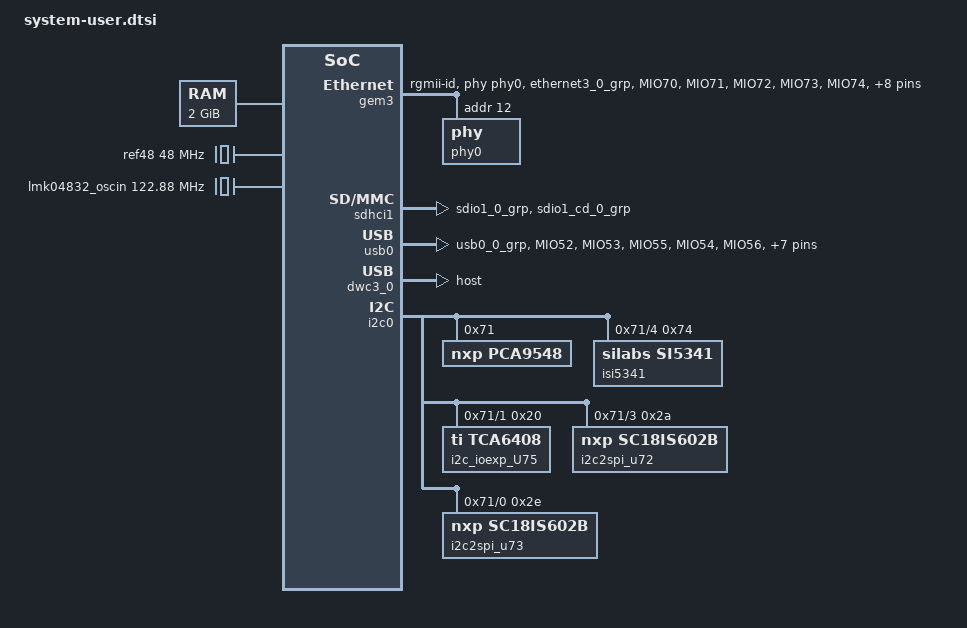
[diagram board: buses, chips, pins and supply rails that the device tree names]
/include/ "system-conf.dtsi"
/include/ "pl.dtsi"
/ {

	memory {
		device_type = "memory";
		reg = <0x0 0x0 0x0 0x7ff00000>;
	};

	/* 48MHz reference crystal */
	ref48: ref48M {
        	compatible = "fixed-clock";
        	#clock-cells = <0>;
        	clock-frequency = <48000000>;
	};

        lmk04832_oscin: oscin {
            compatible = "fixed-clock";

            #clock-cells = <0>;
            clock-frequency = <122880000>;
            clock-output-names = "lmk04832-oscin";
        };
};


&pinctrl0 {
	status = "okay";

	pinctrl_usb0_default: usb0-default {
		mux {
			groups = "usb0_0_grp";
			function = "usb0";
		};

		conf {
			groups = "usb0_0_grp";
			slew-rate = <1>;
			io-standard = <1>;
		};

		conf-rx {
			pins = "MIO52", "MIO53", "MIO55";
			bias-high-impedance;
		};

		conf-tx {
			pins = "MIO54", "MIO56", "MIO57", "MIO58", "MIO59",
			       "MIO60", "MIO61", "MIO62", "MIO63";
			bias-disable;
		};
	};

	pinctrl_gem3_default: gem3-default {
		mux {
			function = "ethernet3";
			groups = "ethernet3_0_grp";
		};

		conf {
			groups = "ethernet3_0_grp";
			slew-rate = <1>;
			io-standard = <1>;
		};

		conf-rx {
			pins = "MIO70", "MIO71", "MIO72", "MIO73", "MIO74",
									"MIO75";
			bias-high-impedance;
			low-power-disable;
		};

		conf-tx {
			pins = "MIO64", "MIO65", "MIO66", "MIO67", "MIO68",
									"MIO69";
			bias-disable;
			low-power-enable;
		};

		mux-mdio {
			function = "mdio3";
			groups = "mdio3_0_grp";
		};

		conf-mdio {
			groups = "mdio3_0_grp";
			slew-rate = <1>;
			io-standard = <1>;
			bias-disable;
		};
	};

	pinctrl_sdhci1_default: sdhci1-default {
		mux {
			groups = "sdio1_0_grp";
			function = "sdio1";
		};

		conf {
			groups = "sdio1_0_grp";
			slew-rate = <1>;
			io-standard = <1>;
			bias-disable;
		};

		mux-cd {
			groups = "sdio1_cd_0_grp";
			function = "sdio1_cd";
		};

		conf-cd {
			groups = "sdio1_cd_0_grp";
			bias-high-impedance;
			bias-pull-up;
			slew-rate = <1>;
			io-standard = <1>;
		};
	};
};

&gem3 {
	status = "okay";
	phy-handle = <&phy0>;
	phy-mode = "rgmii-id";
	pinctrl-names = "default";
	pinctrl-0 = <&pinctrl_gem3_default>;
	phy0: phy@c {
		reg = <0xc>;
		ti,rx-internal-delay = <0x8>;
		ti,tx-internal-delay = <0xa>;
		ti,fifo-depth = <0x1>;
		ti,dp83867-rxctrl-strap-quirk;
	};
};

/* SD1 with level shifter */
&sdhci1 {
	status = "okay";
	pinctrl-names = "default";
	pinctrl-0 = <&pinctrl_sdhci1_default>; 
	no-1-8-v;
	disable-wp;
	xlnx,mio_bank = <1>;
};

/* ULPI SMSC USB3320 */
&usb0 {
	status = "okay";
	pinctrl-names = "default";
	pinctrl-0 = <&pinctrl_usb0_default>;
};

&dwc3_0 {
	status = "okay";
	dr_mode = "host";
	snps,usb3_lpm_capable;
	phy-names = "usb3-phy";
	/* phys = <&lane2 4 0 3 26000000>; */
};

&i2c0 {
	/*
 	 * An NXP pca9548 8 channel I2C multiplexer (U51) at address 0x71
	 */
        pca9548:i2c-mux@71 {
		compatible = "nxp,pca9548";
		reg = <0x71>;
		#address-cells = <1>;
		#size-cells = <0>;
	
		/* PORT 4 - SI5341 Programmable clock generator (U19) at address 0x74 */
            	i2c@4 {
			#address-cells = <1>;
			#size-cells = <0>;
			reg = <4>;

			isi5341: clock-generator@74 {
				reg = <0x74>;
				compatible = "silabs,si5341";
				#clock-cells = <2>;
				#address-cells = <1>;
				#size-cells = <0>;
				clocks = <&ref48>;
				clock-names = "xtal";

				silabs,pll-m-num = <14000>; /* PLL at 14.0 GHz */
				silabs,pll-m-den = <48>;
				silabs,reprogram; /* Chips are not programmed, always reset */

				out@4 {
					reg = <4>;
					silabs,format = <1>; /* LVDS 3v3 */
					silabs,common-mode = <3>;
					silabs,amplitude = <3>;
					silabs,synth-master;
				};

				/*
		 		 * Output 6 configuration:
				 *  LVDS 1v8
				*/
				out@6 {
					reg = <6>;
					silabs,format = <1>; /* LVDS 1v8 */
					silabs,common-mode = <13>;
					silabs,amplitude = <3>;
				};

				/*
		 		 * Output 8 configuration:
		 		 *  HCSL 3v3
 		 		 */
				out@8 {
					reg = <8>;
					silabs,format = <2>;
					silabs,common-mode = <11>;
					silabs,amplitude = <3>;
				};
			};
		};

		/* PORT 1 - I2C I/O Expander (U75) at address 0x20 */
            	i2c@1 {
                	#address-cells = <1>;
                	#size-cells = <0>;
                	reg = <1>;

                	i2c_ioexp_U75:gpio@20 {

                    		compatible = "ti,tca6408";
                    		gpio-controller;
                    		#gpio-cells = <2>;
                    		reg = <0x20>;

				gpio-line-names = 
				"P0_U75", "P1_U75",
				"nc", "nc",
				"nc", "nc",
				"nc", "nc";
			};

            	};

        	/* PORT 3 - NXP i2c-2-spi bridge (U72) at address 0x2A */
            	i2c@3 {
                	#address-cells = <1>;
                	#size-cells = <0>;
                	reg = <3>;

			i2c2spi_u72:sc18is602@2A {
	        		#address-cells = <1>;
       				#size-cells = <0>;
                		compatible = "nxp,sc18is602b";
                		reg = <0x2A>;
        		};
		};

        	/* PORT 0 - NXP i2c-2-spi bridge (U73) at address 0x2E */
            	i2c@0 {
                	#address-cells = <1>;
                	#size-cells = <0>;
                	reg = <0>;

			i2c2spi_u73:sc18is602@2E {
	        		#address-cells = <1>;
       				#size-cells = <0>;
                		compatible = "nxp,sc18is602b";
                		reg = <0x2E>;

				/* TI Clock Jitter Cleaner (U78) */
       				lmk04832: clock-controller@0 {

					status = "reserved";

					#address-cells = <1>;
           				#size-cells = <0>;
           				reg = <0>;
            				compatible = "ti,lmk04832";
            				//spi-max-frequency = <781250>;
            				spi-max-frequency = <1887232>;

            				//reset-gpios = <&gpio_lmk 0 0 0>;

            				#clock-cells = <1>;
            				clocks = <&lmk04832_oscin>;
            				clock-names = "oscin";

					// NOTE: value of 3 for rdbk
					// is undocumented
					// in the device tree bindings as
					// of this writing. We are using
					// Status_LD1 pin for rdbk in
					// this design.
					//
					// Also requires a patch to the
					// linux driver to support this
					// configuration.
            				ti,spi-4wire-rdbk = <3>;

            				ti,vco-hz = <2457600000>;

            				assigned-clocks =
                			<&lmk04832 0>, <&lmk04832 1>,
                			<&lmk04832 2>, <&lmk04832 3>,
                			<&lmk04832 4>, <&lmk04832 5>,
                			<&lmk04832 6>, <&lmk04832 7>,
                			<&lmk04832 8>, <&lmk04832 9>,
                			<&lmk04832 10>, <&lmk04832 11>,
                			<&lmk04832 12>, <&lmk04832 13>;

            				assigned-clock-rates =
                			<122880000>, <384000>,
                			<122880000>, <384000>,
                			<122880000>, <384000>,
                			<153600000>, <384000>,
                			<614400000>, <384000>,
                			<614400000>, <384000>,
                			<614400000>, <384000>;

					/* SI5341 */
            				clkout0@0 {
                				reg = <0>;
                				ti,clkout-fmt = <0x01>; // LVDS
                				ti,clkout-sysref;
					};

					/* SI5341 */
            				clkout1@1 {
                				reg = <1>;
                				ti,clkout-fmt = <0x01>; // LVDS
                				ti,clkout-sysref;
            				};

					/* LMX2594 PLL3 */
            				clkout2@2 {
                				reg = <2>;
                				ti,clkout-fmt = <0x01>; // LVDS
                				ti,sync-mode = <0x01>;
            				};

            				clkout3@3 {
                				reg = <3>;
                				ti,clkout-fmt = <0x01>; // LVDS
                				ti,clkout-sysref;
            				};

            				clkout4@4 {
                				reg = <4>;
                				ti,clkout-fmt = <0x01>; // LVDS
                				ti,sync-mode = <0x01>;
            				};

            				clkout5@5 {
                				reg = <5>;
                				ti,clkout-fmt = <0x01>; // LVDS
                				ti,clkout-sysref;
            				};

            				clkout6@6 {
                				reg = <6>;
                				ti,clkout-fmt = <0x01>; // LVDS
                				ti,sync-mode = <0x01>;
            				};

            				clkout6@7 {
                				reg = <7>;
                				ti,clkout-fmt = <0x01>; // LVDS
                				ti,sync-mode = <0x01>;
            				};

					/* USER (BANKS 84, 87 */
            				clkout8@8 {
                				reg = <8>;
                				ti,clkout-fmt = <0x01>; // LVDS
                				ti,clkout-sysref;
            				};

            				clkout9@9 {
                				reg = <9>;
                				ti,clkout-fmt = <0x01>; // LVDS
                				ti,sync-mode = <0x01>;
            				};

            				clkout10@10 {
                				reg = <10>;
                				ti,clkout-fmt = <0x01>; // LVDS
                				ti,sync-mode = <0x01>;
            				};

            				clkout11@11 {
                				reg = <11>;
                				ti,clkout-fmt = <0x01>; // LVDS
                				ti,sync-mode = <0x01>;
            				};

            				clkout12@12 {
                				reg = <12>;
                				ti,clkout-fmt = <0x01>; // LVDS
                				ti,sync-mode = <0x01>;
            				};

            				clkout13@13 {
                				reg = <13>;
                				ti,clkout-fmt = <0x01>; // LVDS
                				ti,sync-mode = <0x01>;
            				};
        			};
        		};
		};
	};
};

&i2c1 {
};
